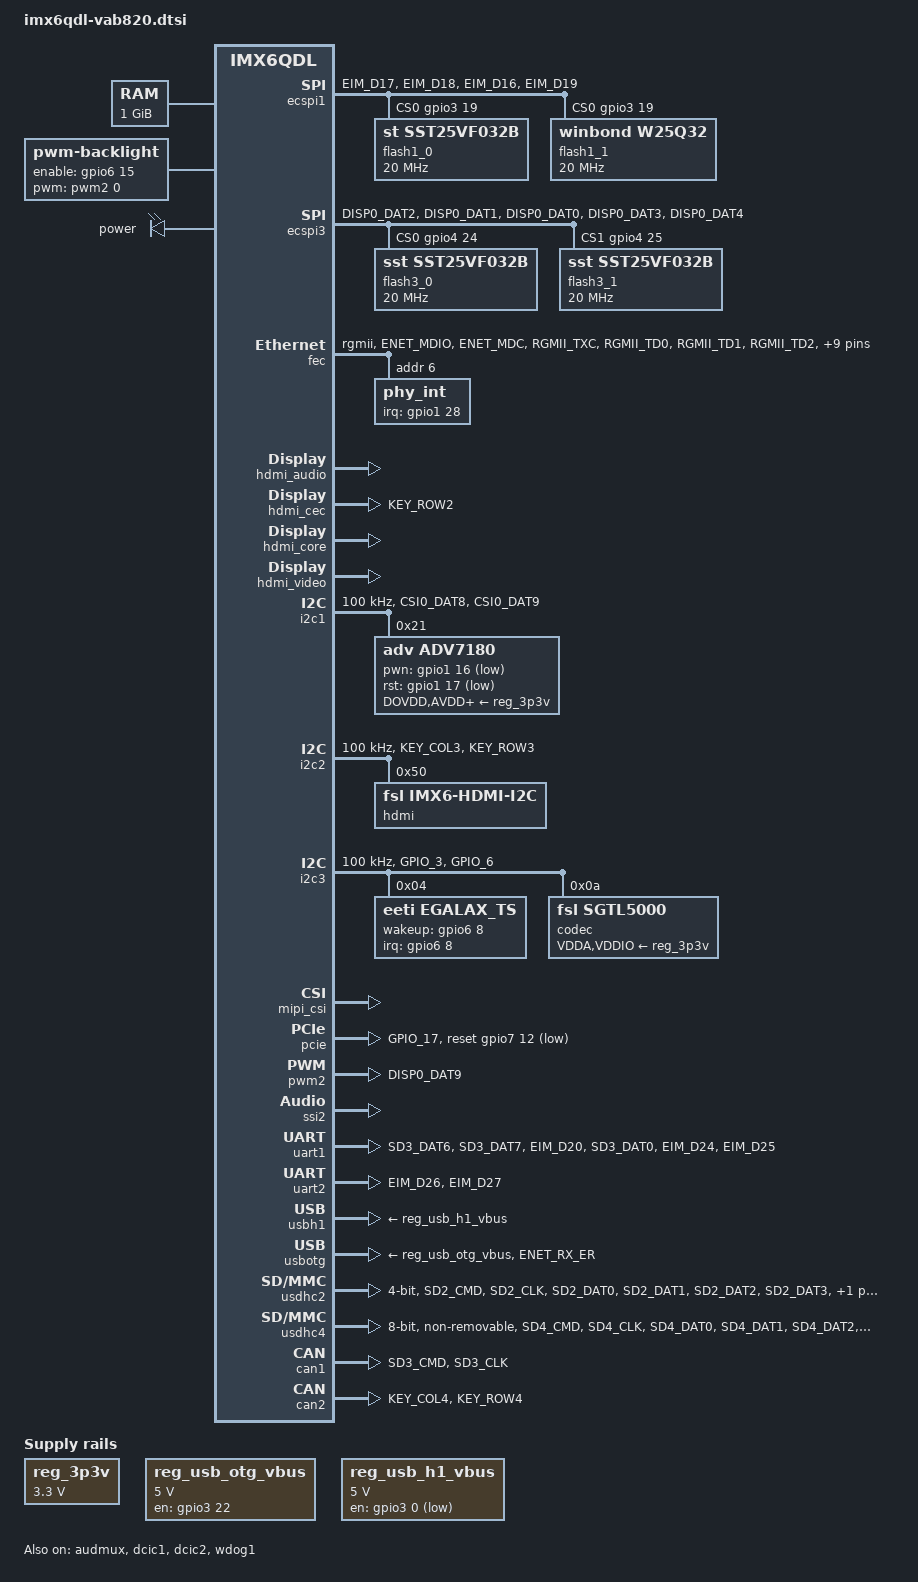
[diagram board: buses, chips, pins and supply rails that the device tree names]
/*
 * Copyright 2014-2016 VIA
 * Copyright 2012-2015 Freescale Semiconductor, Inc.
 * Copyright 2011 Linaro Ltd.
 *
 * The code contained herein is licensed under the GNU General Public
 * License. You may obtain a copy of the GNU General Public License
 * Version 2 or later at the following locations:
 *
 * http://www.opensource.org/licenses/gpl-license.html
 * http://www.gnu.org/copyleft/gpl.html
 */

#include <dt-bindings/gpio/gpio.h>
#include <dt-bindings/input/input.h>

/ {
	aliases {
		mmc0 = &usdhc4;
		mmc1 = &usdhc2;
		mxcfb0 = &mxcfb1;
		mxcfb1 = &mxcfb2;
		mxcfb2 = &mxcfb3;
		mxcfb3 = &mxcfb4;
	};

	hannstar_cabc {
		compatible = "hannstar,cabc";
		lvds0 {
			gpios = <&gpio6 15 GPIO_ACTIVE_HIGH>;
		};
	};

	chosen {
		stdout-path = &uart2;
	};

	memory: memory {
		reg = <0x10000000 0x40000000>;
	};

	regulators {
		compatible = "simple-bus";
		#address-cells = <1>;
		#size-cells = <0>;

		reg_3p3v: 3p3v {
			compatible = "regulator-fixed";
			regulator-name = "3P3V";
			regulator-min-microvolt = <3300000>;
			regulator-max-microvolt = <3300000>;
			regulator-always-on;
		};

		reg_usb_otg_vbus: regulator@0 {
			compatible = "regulator-fixed";
			reg = <0>;
			regulator-name = "usb_otg_vbus";
			regulator-min-microvolt = <5000000>;
			regulator-max-microvolt = <5000000>;
			gpio = <&gpio3 22 0>;
			enable-active-high;
		};

		reg_usb_h1_vbus: regulator@1 {
			compatible = "regulator-fixed";
			reg = <1>;
			regulator-name = "usb_h1_vbus";
			regulator-min-microvolt = <5000000>;
			regulator-max-microvolt = <5000000>;
			gpio = <&gpio3 0 1>; /* VAB-820 - low enable */
		};

	};

	/* VAB-820 - copied from imx6q-sabrelite.dts */
	sound {
		compatible = "fsl,imx6-vab820-sgtl5000",
			     "fsl,imx-audio-sgtl5000";
		model = "imx6-vab820-sgtl5000";
		ssi-controller = <&ssi2>;
		audio-codec = <&codec>;
		audio-routing =
			"MIC_IN", "Mic Jack",
			"Mic Jack", "Mic Bias",
			"Headphone Jack", "HP_OUT";
		mux-int-port = <2>;
		mux-ext-port = <4>;
	};

	sound-hdmi {
		compatible = "fsl,imx6q-audio-hdmi",
			     "fsl,imx-audio-hdmi";
		model = "imx-audio-hdmi";
		hdmi-controller = <&hdmi_audio>;
	};

	mxcfb1: fb@0 {
		compatible = "fsl,mxc_sdc_fb";
		disp_dev = "lcd";
		interface_pix_fmt = "RGB666";
		mode_str = "LDB-XGA";
		default_bpp = <16>;
		int_clk = <0>;
		late_init = <0>;
		status = "disabled";
	};

	mxcfb2: fb@1 {
		compatible = "fsl,mxc_sdc_fb";
		disp_dev = "lcd";
		interface_pix_fmt = "RGB565";
		mode_str ="CLAA-WVGA";
		default_bpp = <16>;
		int_clk = <0>;
		late_init = <0>;
		status = "disabled";
	};

	mxcfb3: fb@2 {
		compatible = "fsl,mxc_sdc_fb";
		disp_dev = "lcd";
		interface_pix_fmt = "RGB666";
		mode_str ="LDB-SVGA";
		default_bpp = <16>;
		int_clk = <0>;
		late_init = <0>;
		status = "disabled";
	};

	mxcfb4: fb@3 {
		compatible = "fsl,mxc_sdc_fb";
		disp_dev = "lcd";
		interface_pix_fmt = "RGB666";
		mode_str = "LDB-VGA";
		default_bpp = <16>;
		int_clk = <0>;
		late_init = <0>;
		status = "disabled";
	};

	backlight {
		compatible = "pwm-backlight";
		pwms = <&pwm2 0 5000000>; /* VAB-820 */
		brightness-levels = <0 4 8 16 32 64 128 255>;
		default-brightness-level = <7>;
		enable-gpios = <&gpio6 15 GPIO_ACTIVE_HIGH>;
		status = "okay";
	};

	v4l2_cap_0 {
		compatible = "fsl,imx6q-v4l2-capture";
		ipu_id = <0>;
		csi_id = <0>;
		mclk_source = <0>;
		status = "okay";
	};

#if 0
	v4l2_cap_1 {
		compatible = "fsl,imx6q-v4l2-capture";
		ipu_id = <0>;
		csi_id = <1>;
		mclk_source = <0>;
		status = "okay";
	};
#endif

	v4l2_out {
		compatible = "fsl,mxc_v4l2_output";
		status = "okay";
	};

	leds {
		compatible = "gpio-leds";
		power {
			power-led-gpio = <&gpio4 5 0>;
		};
	};

};

&audmux {
	pinctrl-names = "default";
	pinctrl-0 = <&pinctrl_audmux>;
	status = "okay";
};

#if 0
&cpu0 {
	arm-supply = <&sw1a_reg>;
	soc-supply = <&sw1c_reg>;
};
#endif

&clks {
	fsl,ldb-di0-parent = <&clks IMX6QDL_CLK_PLL2_PFD0_352M>;
	fsl,ldb-di1-parent = <&clks IMX6QDL_CLK_PLL2_PFD0_352M>;
};

&ecspi1 {
	fsl,spi-num-chipselects = <1>;
	cs-gpios = <&gpio3 19 0>;
	pinctrl-names = "default";
	pinctrl-0 = <&pinctrl_ecspi1 &pinctrl_ecspi1_cs1>;
	status = "okay";

	flash1_0: m25p80@0 {
		#address-cells = <1>;
		#size-cells = <1>;
		compatible = "st,sst25vf032b"; /* VAB-820 */
		spi-max-frequency = <20000000>;
		reg = <0>;
	};

	flash1_1: m25p80@0 {
		#address-cells = <1>;
		#size-cells = <1>;
		compatible = "winbond,w25q32";
		spi-max-frequency = <20000000>;
		reg = <0>; /* Chip-Select number */
	};
};

&ecspi3 {
	fsl,spi-num-chipselects = <2>;
	cs-gpios = <&gpio4 24 0>, <&gpio4 25 0>;
	pinctrl-names = "default";
	pinctrl-0 = <&pinctrl_ecspi3 &pinctrl_ecspi3_cs1 &pinctrl_ecspi3_cs2>;
	status = "okay";
	flash3_0: m25p80@0 {
		#address-cells = <1>;
		#size-cells = <1>;
		compatible = "sst,sst25vf032b";
		spi-max-frequency = <20000000>;
		reg = <0>;
	};
	flash3_1: m25p80@1 {
		#address-cells = <1>;
		#size-cells = <1>;
		compatible = "sst,sst25vf032b";
		spi-max-frequency = <20000000>;
		reg = <1>;
	};
};

&fec {
	pinctrl-names = "default";
	pinctrl-0 = <&pinctrl_enet>;
	phy-mode = "rgmii";
	status = "okay";

	#address-cells = <0>;
	#size-cells = <1>;

	phy_int {
		reg = <0x6>;
		interrupt-parent = <&gpio1>;
		interrupts = <28 IRQ_TYPE_LEVEL_LOW>;
	};
};

&dcic1 {
	dcic_id = <0>;
	dcic_mux = "dcic-hdmi";
	status = "okay";
};

&dcic2 {
	dcic_id = <1>;
	dcic_mux = "dcic-lvds1";
	status = "okay";
};

&hdmi_audio {
	status = "okay";
};

&hdmi_cec {
	pinctrl-names = "default";
	pinctrl-0 = <&pinctrl_hdmi_cec>;
	status = "okay";
};

&hdmi_core {
	ipu_id = <0>;
	disp_id = <0>;
	status = "okay";
};

&hdmi_video {
	fsl,phy_reg_vlev = <0x0294>;
	fsl,phy_reg_cksymtx = <0x800d>;
	status = "okay";
};

&i2c1 {
	clock-frequency = <100000>;
	pinctrl-names = "default";
	pinctrl-0 = <&pinctrl_i2c1>;
	status = "okay";

	adv7180: adv7180@21 {
		compatible = "adv,adv7180";
		reg = <0x21>;
		pinctrl-names = "default";
		pinctrl-0 = <&pinctrl_ipu1>;
		clocks = <&clks 201>;
		clock-names = "csi_mclk";
		DOVDD-supply = <&reg_3p3v>; /* 3.3v enabled via 2.8 VGEN6 */
		AVDD-supply = <&reg_3p3v>;  /* 1.8v */
		DVDD-supply = <&reg_3p3v>;  /* 1.8v */
		PVDD-supply = <&reg_3p3v>;  /* 1.8v */
		pwn-gpios = <&gpio1 16 GPIO_ACTIVE_LOW>;   /* VAB-820 */
		rst-gpios = <&gpio1 17 GPIO_ACTIVE_LOW>;   /* VAB-820 */
		csi_id = <0>;
		mclk = <24000000>;
		mclk_source = <0>;
		cvbs = <1>;
	};
};

&i2c2 {
	clock-frequency = <100000>;
	pinctrl-names = "default";
	pinctrl-0 = <&pinctrl_i2c2>;
	status = "okay";

	hdmi: edid@50 {
		compatible = "fsl,imx6-hdmi-i2c";
		reg = <0x50>;
	};
};

&i2c3 {
	clock-frequency = <100000>;
	pinctrl-names = "default";
	pinctrl-0 = <&pinctrl_i2c3>;
	status = "okay";

	egalax_ts@04 {
		compatible = "eeti,egalax_ts";
		reg = <0x04>;
		pinctrl-names = "default";
		pinctrl-0 = <&pinctrl_i2c3_egalax_int>;
		interrupt-parent = <&gpio6>;
		interrupts = <8 2>;
		wakeup-gpios = <&gpio6 8 GPIO_ACTIVE_HIGH>;
	};

	codec: sgtl5000@0a {
		compatible = "fsl,sgtl5000";
		reg = <0x0a>;
		clocks = <&clks 201>;
		VDDA-supply = <&reg_3p3v>;
		VDDIO-supply = <&reg_3p3v>;
	};
};

&iomuxc {
	pinctrl-names = "default";
	pinctrl-0 = <&pinctrl_hog>;

	imx6qdl-vab820 {
		pinctrl_flexcan1: flexcan1grp {
			fsl,pins = <
				MX6QDL_PAD_SD3_CMD__FLEXCAN1_TX	0x80000000
				MX6QDL_PAD_SD3_CLK__FLEXCAN1_RX	0x80000000
			>;
		};
		pinctrl_flexcan2: flexcan2grp {
			fsl,pins = <
				MX6QDL_PAD_KEY_COL4__FLEXCAN2_TX 0x80000000
				MX6QDL_PAD_KEY_ROW4__FLEXCAN2_RX 0x80000000
			>;
		};
		pinctrl_hog: hoggrp {
			fsl,pins = <
				MX6QDL_PAD_GPIO_1__GPIO1_IO01		0x80000000
				MX6QDL_PAD_GPIO_2__GPIO1_IO02		0x80000000
				MX6QDL_PAD_GPIO_4__GPIO1_IO04		0x80000000
				MX6QDL_PAD_GPIO_5__GPIO1_IO05		0x80000000
				MX6QDL_PAD_GPIO_7__GPIO1_IO07		0x80000000
				MX6QDL_PAD_GPIO_8__GPIO1_IO08		0x80000000
				MX6QDL_PAD_GPIO_9__GPIO1_IO09		0x80000000
				MX6QDL_PAD_SD1_DAT0__GPIO1_IO16		0x80000000
				MX6QDL_PAD_SD1_DAT1__GPIO1_IO17		0x80000000
				MX6QDL_PAD_ENET_TX_EN__GPIO1_IO28	0x1b0b0
				MX6QDL_PAD_NANDF_D2__GPIO2_IO02		0x80000000

				MX6QDL_PAD_EIM_DA0__GPIO3_IO00		0x80000000
				MX6QDL_PAD_EIM_D22__GPIO3_IO22		0x80000000
				MX6QDL_PAD_EIM_D28__GPIO3_IO28		0x80000000
				MX6QDL_PAD_GPIO_19__GPIO4_IO05		0x80000000

				MX6QDL_PAD_NANDF_ALE__GPIO6_IO08	0x80000000

				MX6QDL_PAD_NANDF_CS2__GPIO6_IO15	0x80000000
				MX6QDL_PAD_GPIO_16__GPIO7_IO11		0x80000000
				MX6QDL_PAD_GPIO_18__GPIO7_IO13		0x80000000
				MX6QDL_PAD_GPIO_0__CCM_CLKO1		0x000b0		/* SGTL5000 sys_mcl: copied from boundary */
			>;
		};

		pinctrl_audmux: audmuxgrp {
			fsl,pins = <
				MX6QDL_PAD_DISP0_DAT20__AUD4_TXC	0x130b0
				MX6QDL_PAD_DISP0_DAT21__AUD4_TXD	0x110b0
				MX6QDL_PAD_DISP0_DAT22__AUD4_TXFS	0x130b0
				MX6QDL_PAD_DISP0_DAT23__AUD4_RXD	0x130b0
			>;
		};

		pinctrl_ecspi1: ecspi1grp {
			fsl,pins = <
				MX6QDL_PAD_EIM_D17__ECSPI1_MISO		0x100b1
				MX6QDL_PAD_EIM_D18__ECSPI1_MOSI		0x100b1
				MX6QDL_PAD_EIM_D16__ECSPI1_SCLK		0x100b1
			>;
		};

		pinctrl_ecspi1_cs1: ecspi1cs1grp {
			fsl,pins = <
				MX6QDL_PAD_EIM_D19__GPIO3_IO19		0x80000000
			>;
		};

		pinctrl_ecspi3_cs1: ecspi3cs1grp {
			fsl,pins = <
				MX6QDL_PAD_DISP0_DAT3__GPIO4_IO24	0x80000000
			>;
		};

		pinctrl_ecspi3_cs2: ecspi3cs2grp {
			fsl,pins = <
				MX6QDL_PAD_DISP0_DAT4__GPIO4_IO25	0x80000000
			>;
		};

		pinctrl_ecspi3: ecspi3grp {
			fsl,pins = <
				MX6QDL_PAD_DISP0_DAT2__ECSPI3_MISO	0x100b1
				MX6QDL_PAD_DISP0_DAT1__ECSPI3_MOSI	0x100b1
				MX6QDL_PAD_DISP0_DAT0__ECSPI3_SCLK	0x100b1
			>;
		};

		pinctrl_i2c3_egalax_int: egalax_i2c3_intgrp {
			fsl,pins = <
				MX6QDL_PAD_NANDF_CLE__GPIO6_IO07 0x80000000
			>;
		};

		pinctrl_enet: enetgrp {
			fsl,pins = <
				MX6QDL_PAD_ENET_MDIO__ENET_MDIO		0x1b0b0
				MX6QDL_PAD_ENET_MDC__ENET_MDC		0x1b0b0
				MX6QDL_PAD_RGMII_TXC__RGMII_TXC		0x1b0b0
				MX6QDL_PAD_RGMII_TD0__RGMII_TD0		0x1b0b0
				MX6QDL_PAD_RGMII_TD1__RGMII_TD1		0x1b0b0
				MX6QDL_PAD_RGMII_TD2__RGMII_TD2		0x1b0b0
				MX6QDL_PAD_RGMII_TD3__RGMII_TD3		0x1b0b0
				MX6QDL_PAD_RGMII_TX_CTL__RGMII_TX_CTL	0x1b0b0
				MX6QDL_PAD_ENET_REF_CLK__ENET_TX_CLK	0x1b0b0
				MX6QDL_PAD_RGMII_RXC__RGMII_RXC		0x1b0b0
				MX6QDL_PAD_RGMII_RD0__RGMII_RD0		0x1b0b0
				MX6QDL_PAD_RGMII_RD1__RGMII_RD1		0x1b0b0
				MX6QDL_PAD_RGMII_RD2__RGMII_RD2		0x1b0b0
				MX6QDL_PAD_RGMII_RD3__RGMII_RD3		0x1b0b0
				MX6QDL_PAD_RGMII_RX_CTL__RGMII_RX_CTL	0x1b0b0
			>;
		};

		pinctrl_hdmi_cec: hdmicecgrp {
			fsl,pins = <
				MX6QDL_PAD_KEY_ROW2__HDMI_TX_CEC_LINE 0x1f8b0
			>;
		};

		pinctrl_i2c1: i2c1grp {
			fsl,pins = <
				MX6QDL_PAD_CSI0_DAT8__I2C1_SDA		0x4001b8b1
				MX6QDL_PAD_CSI0_DAT9__I2C1_SCL		0x4001b8b1
			>;
		};

		pinctrl_i2c2: i2c2grp {
			fsl,pins = <
				MX6QDL_PAD_KEY_COL3__I2C2_SCL		0x4001b8b1
				MX6QDL_PAD_KEY_ROW3__I2C2_SDA		0x4001b8b1
			>;
		};

		pinctrl_i2c3: i2c3grp {
			fsl,pins = <
				MX6QDL_PAD_GPIO_3__I2C3_SCL		0x4001b8b1
				MX6QDL_PAD_GPIO_6__I2C3_SDA		0x4001b8b1
			>;
		};

		pinctrl_ipu1: ipu1grp {
			fsl,pins = <
				MX6QDL_PAD_CSI0_DAT12__IPU1_CSI0_DATA12		0x80000000
				MX6QDL_PAD_CSI0_DAT13__IPU1_CSI0_DATA13		0x80000000
				MX6QDL_PAD_CSI0_DAT14__IPU1_CSI0_DATA14		0x80000000
				MX6QDL_PAD_CSI0_DAT15__IPU1_CSI0_DATA15		0x80000000
				MX6QDL_PAD_CSI0_DAT16__IPU1_CSI0_DATA16		0x80000000
				MX6QDL_PAD_CSI0_DAT17__IPU1_CSI0_DATA17		0x80000000
				MX6QDL_PAD_CSI0_DAT18__IPU1_CSI0_DATA18		0x80000000
				MX6QDL_PAD_CSI0_DAT19__IPU1_CSI0_DATA19		0x80000000
				MX6QDL_PAD_CSI0_PIXCLK__IPU1_CSI0_PIXCLK	0x80000000
				MX6QDL_PAD_CSI0_MCLK__IPU1_CSI0_HSYNC		0x80000000
				MX6QDL_PAD_CSI0_VSYNC__IPU1_CSI0_VSYNC		0x80000000
			>;
		};

		pinctrl_pcie: pciegrp {
			fsl,pins = <
				MX6QDL_PAD_GPIO_17__GPIO7_IO12	0x1b0b0
			>;
		};

		pinctrl_pcie_reg: pciereggrp {
			fsl,pins = <
				MX6QDL_PAD_EIM_D19__GPIO3_IO19	0x1b0b0
			>;
		};

		pinctrl_pwm2: pwm2grp {
			fsl,pins = <
				MX6QDL_PAD_DISP0_DAT9__PWM2_OUT		0x1b0b1
			>;
		};

		pinctrl_uart1: uart1grp {
			fsl,pins = <
				MX6QDL_PAD_SD3_DAT6__UART1_TX_DATA	0x80000000
				MX6QDL_PAD_SD3_DAT7__UART1_RX_DATA	0x80000000
				MX6QDL_PAD_EIM_D20__UART1_CTS_B		0x80000000
				MX6QDL_PAD_SD3_DAT0__UART1_RTS_B	0x130b0
				MX6QDL_PAD_EIM_D24__UART1_DTR_B		0x130b0
				MX6QDL_PAD_EIM_D25__UART1_DSR_B		0x80000000
			>;
		};

		pinctrl_uart2: uart2grp {
			fsl,pins = <
				MX6QDL_PAD_EIM_D26__UART2_TX_DATA	0x1b0b1
				MX6QDL_PAD_EIM_D27__UART2_RX_DATA	0x1b0b1
			>;
		};

		pinctrl_usbotg: usbotggrp {
			fsl,pins = <
				MX6QDL_PAD_ENET_RX_ER__USB_OTG_ID	0x17059
			>;
		};

		pinctrl_usdhc2: usdhc2grp {
			fsl,pins = <
				MX6QDL_PAD_SD2_CMD__SD2_CMD		0x17059
				MX6QDL_PAD_SD2_CLK__SD2_CLK		0x10059
				MX6QDL_PAD_SD2_DAT0__SD2_DATA0		0x17059
				MX6QDL_PAD_SD2_DAT1__SD2_DATA1		0x17059
				MX6QDL_PAD_SD2_DAT2__SD2_DATA2		0x17059
				MX6QDL_PAD_SD2_DAT3__SD2_DATA3		0x17059
			>;
		};

		pinctrl_usdhc4: usdhc4grp {
			fsl,pins = <
				MX6QDL_PAD_SD4_CMD__SD4_CMD		0x17059
				MX6QDL_PAD_SD4_CLK__SD4_CLK		0x10059
				MX6QDL_PAD_SD4_DAT0__SD4_DATA0		0x17059
				MX6QDL_PAD_SD4_DAT1__SD4_DATA1		0x17059
				MX6QDL_PAD_SD4_DAT2__SD4_DATA2		0x17059
				MX6QDL_PAD_SD4_DAT3__SD4_DATA3		0x17059
				MX6QDL_PAD_SD4_DAT4__SD4_DATA4		0x17059
				MX6QDL_PAD_SD4_DAT5__SD4_DATA5		0x17059
				MX6QDL_PAD_SD4_DAT6__SD4_DATA6		0x17059
				MX6QDL_PAD_SD4_DAT7__SD4_DATA7		0x17059
			>;
		};
		pinctrl_usbh1: usbh1grp {
			fsl,pins = <
				MX6QDL_PAD_EIM_D30__USB_H1_OC		0x80000000
			>;
		};

		pinctrl_wdog: wdoggrp {
			fsl,pins = <
				MX6QDL_PAD_DISP0_DAT8__WDOG1_B 0x80000000
			>;
		};

	};
};

&mipi_csi {
	status = "okay";
	ipu_id = <0>;
	csi_id = <1>;
	v_channel = <0>;
	lanes = <2>;
};

&pcie {
	pinctrl-names = "default";
	pinctrl-0 = <&pinctrl_pcie>;
	reset-gpio = <&gpio7 12 GPIO_ACTIVE_LOW>;
	status = "okay";
};

&pwm2 {
	pinctrl-names = "default";
	pinctrl-0 = <&pinctrl_pwm2>;
	status = "okay";
};

&snvs_poweroff {
	status = "okay";
};

&ssi2 {
	status = "okay";
};

&uart1 {
	pinctrl-names = "default";
	pinctrl-0 = <&pinctrl_uart1>;
	status = "okay";
	fsl,uart-has-rtscts;
	fsl,dte-mode;
};

&uart2 {
	pinctrl-names = "default";
	pinctrl-0 = <&pinctrl_uart2>;
	status = "okay";
};

&usbh1 {
	vbus-supply = <&reg_usb_h1_vbus>;
	pinctrl-1 = <&pinctrl_usbh1>;
	status = "okay";
};

&usbotg {
	vbus-supply = <&reg_usb_otg_vbus>;
	pinctrl-names = "default";
	pinctrl-0 = <&pinctrl_usbotg>;
	disable-over-current;
	srp-disable;
	hnp-disable;
	adp-disable;
	status = "okay";
};

&usbphy1 {
        tx-d-cal = <0x5>;
};

&usbphy2 {
        tx-d-cal = <0x5>;
};

&usdhc2 {
	pinctrl-names = "default";
	pinctrl-0 = <&pinctrl_usdhc2>;
	bus-width = <4>;
	cd-gpios = <&gpio2 2 GPIO_ACTIVE_LOW>;
	no-1-8-v;
	keep-power-in-suspend;
	enable-sdio-wakeup;
	status = "okay";
};

&usdhc4 {
	pinctrl-names = "default";
	pinctrl-0 = <&pinctrl_usdhc4>;
	bus-width = <8>;
	non-removable;
	no-1-8-v;
	keep-power-in-suspend;
	status = "okay";
};

&wdog1 {
	pinctrl-names = "default";
	pinctrl-0 = <&pinctrl_wdog>;
	fsl,wdog_b;
	status = "okay";
};

&wdog2 {
	status = "disabled";
};

&can1 {
	pinctrl-names = "default";
	pinctrl-0 = <&pinctrl_flexcan1>;
	status = "okay";
};

&can2 {
	pinctrl-names = "default";
	pinctrl-0 = <&pinctrl_flexcan2>;
	status = "okay";
};

&gpc {
	fsl,ldo-bypass = <0>;
};
